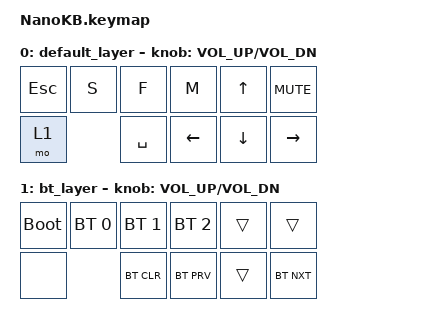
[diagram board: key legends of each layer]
#include <behaviors.dtsi>
#include <dt-bindings/zmk/keys.h>
#include <dt-bindings/zmk/bt.h>

/ {
    keymap {
        compatible = "zmk,keymap";

        default_layer {
            bindings = <
                &kp ESC  &kp S  &kp F      &kp M     &kp UP    &kp C_MUTE
                &mo 1           &kp SPACE  &kp LEFT  &kp DOWN  &kp RIGHT
            >;
            sensor-bindings = <&inc_dec_kp C_VOL_UP C_VOL_DN>;
        };

        bt_layer {
            bindings = <
                &bootloader  &bt BT_SEL 0  &bt BT_SEL 1  &bt BT_SEL 2  &trans  &trans
                &none                      &bt BT_CLR    &bt BT_PRV    &trans  &bt BT_NXT
            >;
            sensor-bindings = <&inc_dec_kp C_VOL_UP C_VOL_DN>;
        };
    };
};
